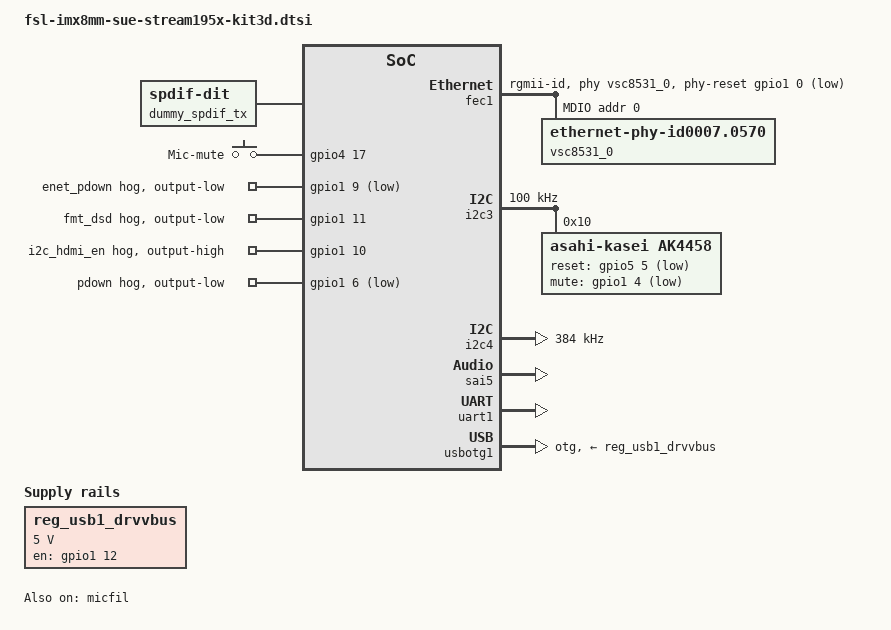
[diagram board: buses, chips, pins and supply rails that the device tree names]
#include <dt-bindings/net/mscc-phy-vsc8531.h>

/ {
	sue {
		carrierboard = "streamkit3d";
	};

	dummy_spdif_tx: spdif-transmitter {
		#sound-dai-cells = <0>;
		compatible = "linux,spdif-dit";
	};

	reg_usb1_drvvbus: regulator@0 {
		compatible = "regulator-fixed";
		pinctrl-names = "default";
		pinctrl-0 = <&pinctrl_usb1_drvvbus>;

		regulator-name = "usb1_drvvbus";
		regulator-min-microvolt = <5000000>;
		regulator-max-microvolt = <5000000>;
		enable-active-high;
		gpio = <&gpio1 12 GPIO_ACTIVE_HIGH>;
	};

	/* Sound card for non-removable components on carrierboard. For
	 * removable components, add a new sound card per removable component.
	 */
	sound-pcm {
		compatible = "sue,stream195x-audio";
		sue-card,name = "Carrierboard";

		clocks = <&clk IMX8MM_AUDIO_PLL1_OUT>, <&clk IMX8MM_AUDIO_PLL2_OUT>;
		clock-names = "pll8k", "pll11k";

		sue-card,dai-link@0 {
			format = "i2s";

			frame-master = <&dailink0_cpu>;
			bitclock-master = <&dailink0_cpu>;

			continuous-clock;

			dailink0_cpu: cpu {
				sound-dai = <&sai5>;
				dai-tdm-slot-num = <2>;
				dai-tdm-slot-width = <32>;
			};

			dailink0_codec: codec {
				/* use-dummy-codec; */
				sound-dai = <&ak4458>;
				dai-tdm-slot-num = <2>;
				dai-tdm-slot-width = <32>;
			};
		};
	};

	sound-pdm {
		compatible = "fsl,imx-audio-micfil";
		model = "imx-audio-micfil";
		cpu-dai = <&micfil>;
	};

	gpio-keys {
		compatible = "gpio-keys";
		pinctrl-names = "default";
		pinctrl-0 = <&pinctrl_micmute>;

		mic-mute {
			label = "Mic-mute";
			gpios = <&gpio4 17 GPIO_ACTIVE_HIGH>;
			linux,input-type = <EV_SW>;
			linux,code = <SW_MICROPHONE_INSERT>;
		};
	};
};

&clk {
	assigned-clock-rates = <0>,
				<400000000>,
				<400000000>,
				<750000000>,
				<594000000>,
				<786432000>, /* 2x rate from imx8mm.dtsi*/
				<722534400>; /* 2x rate from imx8mm.dtsi */
};

&fec1 {
	pinctrl-names = "default";
	pinctrl-0 = <&pinctrl_fec1>;
	phy-mode = "rgmii-id";
	phy-handle = <&vsc8531_0>;
	status = "okay";

	phy-reset-gpios = <&gpio1 0 GPIO_ACTIVE_LOW>;
	phy-reset-duration = <5>;
	phy-reset-post-delay = <5>;

	mdio {
		#address-cells = <1>;
		#size-cells = <0>;

		vsc8531_0: ethernet-phy@0 {
			reg = <0>;
			compatible = "ethernet-phy-id0007.0570";

			/* Display the link activity on right and 1 Gbit activity on the left */
			vsc8531,led-0-mode = /bits/ 8 <VSC8531_LINK_1000_ACTIVITY>;
			vsc8531,led-1-mode = /bits/ 8 <VSC8531_LINK_ACTIVITY>;

			/* Drive the LED pins instead of relying on external pull-ups */
			vsc8531,led-drive;

			/* Invert polarity on both LEDs */
			vsc8531,led-0-inv-pol;
			vsc8531,led-1-inv-pol;

			/* Set blink rate to 10 Hz to match common switches */
			vsc8531,led-blink-rate = /bits/ 8 <VSC8531_LED_BLINK_RATE_10HZ>;

			vsc8531,vddmac = /bits/ 16 <1800>;
			vsc8531,edge-slowdown = /bits/ 8 <0>;
		};
	};
};

&gpio1 {
	/*
	 * TODO: most of those GPIO hogs will be moved to it's own drivers
	 * sooner or later.
	 */
	enet_pdown {
		gpio-hog;
		gpios = <9 GPIO_ACTIVE_LOW>;
		output-low;
		line-name = "enet_pdown";
	};

	fmt_dsd {
		gpio-hog;
		gpios = <11 GPIO_ACTIVE_HIGH>;
		output-low;
		line-name = "fmt_dsd";
	};

	i2c_hdmi_en {
		gpio-hog;
		gpios = <10 GPIO_ACTIVE_HIGH>;
		output-high;
		line-name = "i2c_hdmi_en";
	};

	pdown {
		gpio-hog;
		gpios = <6 GPIO_ACTIVE_LOW>;
		output-low;
		line-name = "pdown";
	};
};

&i2c3 {
	clock-frequency = <100000>;
	pinctrl-names = "default";
	pinctrl-0 = <&pinctrl_i2c3>;
	status = "okay";

	ak4458: ak4458@10 {
		#sound-dai-cells = <0>;
		compatible = "asahi-kasei,ak4458";
		reg = <0x10>;
		reset-gpios = <&gpio5 5 GPIO_ACTIVE_LOW>;
		mute-gpios = <&gpio1 4 GPIO_ACTIVE_LOW>;
	};
};

&i2c4 {
	/*
	 * Workaround for:
	 *   e7805: I2C: When the I2C clock speed is configured for 400 kHz, the SCL low period
	 *   violates the I2C spec of 1.3 uS min
	 */
	clock-frequency = <384000>;

	pinctrl-names = "default";
	pinctrl-0 = <&pinctrl_i2c4>;
	status = "okay";
};

&iomuxc {
	imx8mm-s195x-kit {
		pinctrl_fec1: fec1grp {
			fsl,pins = <
				MX8MM_IOMUXC_ENET_MDC_ENET1_MDC			(IOMUX_CONFIG_SION | PAD_CTL_DSE6x)
				MX8MM_IOMUXC_ENET_MDIO_ENET1_MDIO		(PAD_CTL_DSE6x)

				MX8MM_IOMUXC_ENET_TD0_ENET1_RGMII_TD0		(PAD_CTL_FAST | PAD_CTL_DSE6x)
				MX8MM_IOMUXC_ENET_TD1_ENET1_RGMII_TD1		(PAD_CTL_FAST | PAD_CTL_DSE6x)
				MX8MM_IOMUXC_ENET_TD2_ENET1_RGMII_TD2		(PAD_CTL_FAST | PAD_CTL_DSE6x)
				MX8MM_IOMUXC_ENET_TD3_ENET1_RGMII_TD3		(PAD_CTL_FAST | PAD_CTL_DSE6x)
				MX8MM_IOMUXC_ENET_TX_CTL_ENET1_RGMII_TX_CTL	(PAD_CTL_FAST | PAD_CTL_DSE6x)
				MX8MM_IOMUXC_ENET_TXC_ENET1_RGMII_TXC		(PAD_CTL_FAST | PAD_CTL_DSE6x)

				MX8MM_IOMUXC_ENET_RD0_ENET1_RGMII_RD0		(PAD_CTL_HYS | PAD_CTL_FAST)
				MX8MM_IOMUXC_ENET_RD1_ENET1_RGMII_RD1		(PAD_CTL_HYS | PAD_CTL_FAST)
				MX8MM_IOMUXC_ENET_RD2_ENET1_RGMII_RD2		(PAD_CTL_HYS | PAD_CTL_FAST)
				MX8MM_IOMUXC_ENET_RD3_ENET1_RGMII_RD3		(PAD_CTL_HYS | PAD_CTL_FAST)
				MX8MM_IOMUXC_ENET_RX_CTL_ENET1_RGMII_RX_CTL	(PAD_CTL_HYS | PAD_CTL_FAST)
				MX8MM_IOMUXC_ENET_RXC_ENET1_RGMII_RXC		(PAD_CTL_HYS | PAD_CTL_FAST)

				MX8MM_IOMUXC_GPIO1_IO00_GPIO1_IO0		(PAD_CTL_PE_UP)					/* ENET_RST_N */
				MX8MM_IOMUXC_GPIO1_IO08_GPIO1_IO8		(PAD_CTL_PE_UP | PAD_CTL_HYS | PAD_CTL_FAST)	/* ENET_IRQ_N */
				MX8MM_IOMUXC_GPIO1_IO09_GPIO1_IO9		(PAD_CTL_PE_DOWN)				/* ENET_PDONW_N */

			>;
		};

		pinctrl_i2c3: i2c3grp {
			fsl,pins = <
				MX8MM_IOMUXC_I2C3_SCL_I2C3_SCL			(IOMUX_CONFIG_SION | PAD_CTL_PE_UP | PAD_CTL_HYS | PAD_CTL_FAST | PAD_CTL_DSE6x)
				MX8MM_IOMUXC_I2C3_SDA_I2C3_SDA			(IOMUX_CONFIG_SION | PAD_CTL_PE_UP | PAD_CTL_HYS | PAD_CTL_FAST | PAD_CTL_DSE6x)
			>;
		};

		pinctrl_i2c4: i2c4grp {
			fsl,pins = <
				MX8MM_IOMUXC_I2C4_SCL_I2C4_SCL			(IOMUX_CONFIG_SION | PAD_CTL_PE_UP | PAD_CTL_HYS | PAD_CTL_FAST | PAD_CTL_DSE6x)
				MX8MM_IOMUXC_I2C4_SDA_I2C4_SDA			(IOMUX_CONFIG_SION | PAD_CTL_PE_UP | PAD_CTL_HYS | PAD_CTL_FAST | PAD_CTL_DSE6x)
			>;
		};

		pinctrl_pdm: pdmgrp {
			fsl,pins = <
				MX8MM_IOMUXC_SAI1_RXD0_PDM_DATA0		(PAD_CTL_PE_DOWN | PAD_CTL_HYS | PAD_CTL_FAST)
				MX8MM_IOMUXC_SAI1_RXD1_PDM_DATA1		(PAD_CTL_PE_DOWN | PAD_CTL_HYS | PAD_CTL_FAST)
				MX8MM_IOMUXC_SAI1_RXD2_PDM_DATA2		(PAD_CTL_PE_DOWN | PAD_CTL_HYS | PAD_CTL_FAST)
				MX8MM_IOMUXC_SAI1_RXD3_PDM_DATA3		(PAD_CTL_PE_DOWN | PAD_CTL_HYS | PAD_CTL_FAST)
				MX8MM_IOMUXC_SAI1_TXD7_PDM_CLK			(PAD_CTL_PE_DOWN | PAD_CTL_HYS | PAD_CTL_FAST | PAD_CTL_DSE4x)
			>;
		};

		pinctrl_sai5_rx: sai5rxgrp {
			fsl,pins = <
				MX8MM_IOMUXC_SAI5_RXFS_SAI5_RX_SYNC		(PAD_CTL_PE_DOWN | PAD_CTL_HYS | PAD_CTL_FAST)
				MX8MM_IOMUXC_SAI5_RXC_SAI5_RX_BCLK		(PAD_CTL_PE_DOWN | PAD_CTL_HYS | PAD_CTL_FAST)

				MX8MM_IOMUXC_SAI5_RXD0_SAI5_RX_DATA0		(PAD_CTL_PE_DOWN | PAD_CTL_HYS | PAD_CTL_FAST)
				MX8MM_IOMUXC_SAI5_RXD1_SAI5_RX_DATA1		(PAD_CTL_PE_DOWN | PAD_CTL_HYS | PAD_CTL_FAST)
				MX8MM_IOMUXC_SAI5_RXD2_SAI5_RX_DATA2		(PAD_CTL_PE_DOWN | PAD_CTL_HYS | PAD_CTL_FAST)
				MX8MM_IOMUXC_SAI5_RXD3_SAI5_RX_DATA3		(PAD_CTL_PE_DOWN | PAD_CTL_HYS | PAD_CTL_FAST)
			>;
		};

		pinctrl_sai5_tx: sai5txgrp {
			fsl,pins = <
				MX8MM_IOMUXC_SAI5_MCLK_SAI5_MCLK		(PAD_CTL_PE_DOWN | PAD_CTL_HYS | PAD_CTL_FAST | PAD_CTL_DSE4x)

				MX8MM_IOMUXC_SAI2_RXFS_SAI5_TX_SYNC		(PAD_CTL_PE_DOWN | PAD_CTL_HYS | PAD_CTL_FAST | PAD_CTL_DSE4x)
				MX8MM_IOMUXC_SAI2_RXC_SAI5_TX_BCLK		(PAD_CTL_PE_DOWN | PAD_CTL_HYS | PAD_CTL_FAST | PAD_CTL_DSE4x)
				MX8MM_IOMUXC_SAI2_RXD0_SAI5_TX_DATA0		(PAD_CTL_PE_DOWN | PAD_CTL_HYS | PAD_CTL_FAST | PAD_CTL_DSE4x)
				MX8MM_IOMUXC_SAI2_TXFS_SAI5_TX_DATA1		(PAD_CTL_PE_DOWN | PAD_CTL_HYS | PAD_CTL_FAST | PAD_CTL_DSE4x)
				MX8MM_IOMUXC_SAI2_TXC_SAI5_TX_DATA2		(PAD_CTL_PE_DOWN | PAD_CTL_HYS | PAD_CTL_FAST | PAD_CTL_DSE4x)
				MX8MM_IOMUXC_SAI2_TXD0_SAI5_TX_DATA3		(PAD_CTL_PE_DOWN | PAD_CTL_HYS | PAD_CTL_FAST | PAD_CTL_DSE4x)
			>;
		};

		pinctrl_uart1: uart1grp {
			fsl,pins = <
				MX8MM_IOMUXC_UART1_RXD_UART1_DCE_RX	(PAD_CTL_PE_UP | PAD_CTL_HYS)
				MX8MM_IOMUXC_UART1_TXD_UART1_DCE_TX	(PAD_CTL_PE_UP | PAD_CTL_HYS)
			>;
		};

		pinctrl_usb1_drvvbus: usb1drvvbusgrp {
			fsl,pins = <
				MX8MM_IOMUXC_GPIO1_IO12_GPIO1_IO12	(PAD_CTL_PE_DOWN | PAD_CTL_HYS)
			>;
		};

		pinctrl_micmute: gpiogrp {
			fsl,pins = <
				MX8MM_IOMUXC_SAI1_TXD5_GPIO4_IO17	(PAD_CTL_PE_UP | PAD_CTL_HYS)
			>;
		};
	};
};

&micfil {
	pinctrl-names = "default";
	pinctrl-0 = <&pinctrl_pdm>;
	assigned-clocks = <&clk IMX8MM_CLK_PDM>;
	assigned-clock-parents = <&clk IMX8MM_AUDIO_PLL1_OUT>;
	assigned-clock-rates = <196608000>;
	status = "okay";
};

&sai5 {
	#sound-dai-cells = <0>;	/* This is required for the simple-audio-card to work */
	pinctrl-names = "default";
	pinctrl-0 = <&pinctrl_sai5_tx &pinctrl_sai5_rx>;
	assigned-clocks = <&clk IMX8MM_CLK_SAI5>;
	assigned-clock-parents = <&clk IMX8MM_AUDIO_PLL1_OUT>;
	assigned-clock-rates = <24576000>;

	/* This only adds the pll8k and the pll11k clock to the list */
	clocks = <&clk IMX8MM_CLK_SAI5_IPG>, <&clk IMX8MM_CLK_DUMMY>,
		 <&clk IMX8MM_CLK_SAI5_ROOT>, <&clk IMX8MM_CLK_DUMMY>,
		 <&clk IMX8MM_CLK_DUMMY>,
		 <&clk IMX8MM_AUDIO_PLL1_OUT>, <&clk IMX8MM_AUDIO_PLL2_OUT>;
	clock-names = "bus", "mclk0",
		      "mclk1", "mclk2",
		      "mclk3",
		      "pll8k", "pll11k";

	status = "okay";

	/*
	 * This is conjunction with `dai-tdm-slot-num = <2>;` makes sure that
	 * for 8 channel playback 8 ch / 2 slots = 4 pins are used with a mask of 0xf.
	 * /
	/* first number is pins, second is rx mask, third is tx mask */
	fsl,dataline = <
		1 0x1 0x1
		2 0x3 0x3
		3 0x7 0x7
		4 0xf 0xf
	>;
	fsl,sai-asynchronous;
};

&uart1 {
	pinctrl-names = "default";
	pinctrl-0 = <&pinctrl_uart1>;
	status = "okay";
};

&usbotg1 {
	dr_mode = "otg";
	status = "okay";
	vbus-supply = <&reg_usb1_drvvbus>;
};
